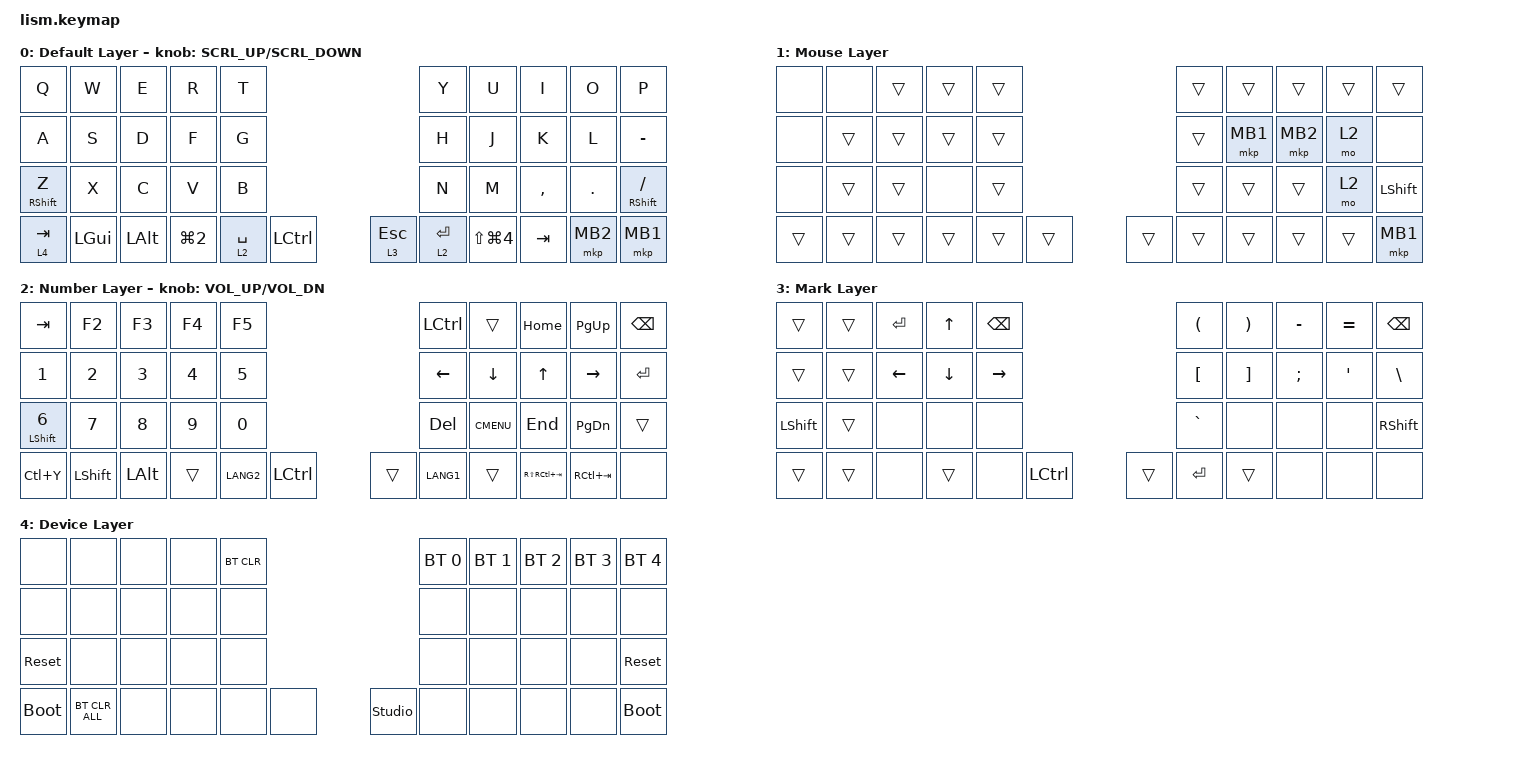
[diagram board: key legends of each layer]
#define ZMK_POINTING_DEFAULT_SCRL_VAL 200

#include <dt-bindings/zmk/mouse.h>
#include <behaviors.dtsi>
#include <dt-bindings/zmk/bt.h>
#include <dt-bindings/zmk/keys.h>
#include <dt-bindings/zmk/pointing.h>

&mt {
    tapping-term-ms = <300>;
    flavor = "balanced";
};

&lt { quick-tap-ms = <300>; };

/ {
    behaviors {
        encoder_msc: sensor_rotate_msc {
            compatible = "zmk,behavior-sensor-rotate-var";
            #sensor-binding-cells = <2>;
            bindings = <&msc>, <&msc>;

            tap-ms = <20>;
        };

        encoder_kp: sensor_rotate_kp {
            compatible = "zmk,behavior-sensor-rotate-var";
            #sensor-binding-cells = <2>;
            bindings = <&kp>, <&kp>;
        };
    };

    combos {
        compatible = "zmk,combos";

        enter {
            bindings = <&kp ENTER>;
            key-positions = <18 19>;
        };

        pass {
            bindings = <&new_macro>;
            key-positions = <5 25>;
        };

        qw {
            bindings = <&mo 3>;
            key-positions = <0 1>;
        };

        passBaios {
            bindings = <&new_macro2>;
            key-positions = <9 29>;
        };
    };

    macros {
        new_macro: new_macro {
            compatible = "zmk,behavior-macro";
            #binding-cells = <0>;
            bindings = <&none &kp LS(G) &kp LS(U) &kp N2 &kp U &kp DLLR &kp LS(A) &kp I &kp N0 &kp N0 &kp N9 &kp N8 &kp N7>;
            label = "NEW_MACRO";
        };

        new_macro2: new_macro2 {
            compatible = "zmk,behavior-macro";
            #binding-cells = <0>;
            bindings = <&none &kp LS(A) &kp SEMI &kp L &kp K &kp J &kp N1 &kp N2 &kp N3 &kp N4>;
            label = "NEW_MACRO2";
        };
    };

    keymap {
        compatible = "zmk,keymap";

        default_layer {
            display-name = "Default Layer";
            bindings = <
&kp Q              &kp W         &kp E         &kp R             &kp T                                &kp Y        &kp U           &kp I      &kp O     &kp P
&kp A              &kp S         &kp D         &kp F             &kp G                                &kp H        &kp J           &kp K      &kp L     &kp MINUS
&mt RIGHT_SHIFT Z  &kp X         &kp C         &kp V             &kp B                                &kp N        &kp M           &kp COMMA  &kp DOT   &mt RIGHT_SHIFT SLASH
&lt 4 TAB          &kp LEFT_GUI  &kp LEFT_ALT  &kp LG(NUMBER_2)  &lt 2 SPACE  &kp LCTRL    &lt 3 ESC  &lt 2 ENTER  &kp LS(LG(N4))  &kp TAB    &mkp MB2  &mkp MB1
            >;

            sensor-bindings = <&encoder_msc SCRL_UP SCRL_DOWN>;
        };

        layer_1 {
            display-name = "Mouse Layer";
            bindings = <
&none   &none   &trans  &trans  &trans                    &trans  &trans    &trans    &trans  &trans
&none   &trans  &trans  &trans  &trans                    &trans  &mkp MB1  &mkp MB2  &mo 2   &none
&none   &trans  &trans  &none   &trans                    &trans  &trans    &trans    &mo 2   &kp LEFT_SHIFT
&trans  &trans  &trans  &trans  &trans  &trans    &trans  &trans  &trans    &trans    &trans  &mkp MB1
            >;
        };

        layer_2 {
            display-name = "Number Layer";
            bindings = <
&kp TAB                  &kp F2          &kp F3        &kp F4        &kp F5                             &kp LCTRL       &trans          &kp HOME         &kp PAGE_UP    &kp BACKSPACE
&kp NUMBER_1             &kp NUMBER_2    &kp NUMBER_3  &kp NUMBER_4  &kp NUMBER_5                       &kp LEFT_ARROW  &kp DOWN_ARROW  &kp UP           &kp RIGHT      &kp ENTER
&mt LEFT_SHIFT NUMBER_6  &kp NUMBER_7    &kp NUMBER_8  &kp NUMBER_9  &kp NUMBER_0                       &kp DEL         &kp K_CMENU     &kp END          &kp PAGE_DOWN  &trans
&kp LC(Y)                &kp LEFT_SHIFT  &kp LEFT_ALT  &trans        &kp LANG2     &kp LCTRL    &trans  &kp LANG1       &trans          &kp RS(RC(TAB))  &kp RC(TAB)    &none
            >;

            sensor-bindings = <&encoder_kp C_VOL_UP C_VOL_DN>;
        };

        layer_3 {
            display-name = "Mark Layer";
            bindings = <
&trans          &trans  &kp ENTER       &kp UP_ARROW    &kp BACKSPACE                       &kp LEFT_PARENTHESIS  &kp RIGHT_PARENTHESIS  &kp MINUS      &kp EQUAL         &kp BACKSPACE
&trans          &trans  &kp LEFT_ARROW  &kp DOWN_ARROW  &kp RIGHT                           &kp LEFT_BRACKET      &kp RIGHT_BRACKET      &kp SEMICOLON  &kp SINGLE_QUOTE  &kp BACKSLASH
&kp LEFT_SHIFT  &trans  &none           &none           &none                               &kp GRAVE             &none                  &none          &none             &kp RIGHT_SHIFT
&trans          &trans  &none           &trans          &none          &kp LCTRL    &trans  &kp ENTER             &trans                 &none          &none             &none
            >;
        };

        layer_4 {
            display-name = "Device Layer";
            bindings = <
&none        &none           &none  &none  &bt BT_CLR                           &bt BT_SEL 0  &bt BT_SEL 1  &bt BT_SEL 2  &bt BT_SEL 3  &bt BT_SEL 4
&none        &none           &none  &none  &none                                &none         &none         &none         &none         &none
&sys_reset   &none           &none  &none  &none                                &none         &none         &none         &none         &sys_reset
&bootloader  &bt BT_CLR_ALL  &none  &none  &none       &none    &studio_unlock  &none         &none         &none         &none         &bootloader
            >;
        };

        layer_5 {
            status = "reserved";
            display-name = "Brank Layer";
            bindings = <
&trans  &trans  &trans  &trans  &trans                    &trans  &trans  &trans  &trans  &trans
&trans  &trans  &trans  &trans  &trans                    &trans  &trans  &trans  &trans  &trans
&trans  &trans  &trans  &trans  &trans                    &trans  &trans  &trans  &trans  &trans
&trans  &trans  &trans  &trans  &trans  &trans    &trans  &trans  &trans  &trans  &trans  &trans
            >;
        };

        layer_6 {
            status = "reserved";
            display-name = "Brank Layer";
            bindings = <
&trans  &trans  &trans  &trans  &trans                    &trans  &trans  &trans  &trans  &trans
&trans  &trans  &trans  &trans  &trans                    &trans  &trans  &trans  &trans  &trans
&trans  &trans  &trans  &trans  &trans                    &trans  &trans  &trans  &trans  &trans
&trans  &trans  &trans  &trans  &trans  &trans    &trans  &trans  &trans  &trans  &trans  &trans
            >;
        };

        layer_7 {
            status = "reserved";
            display-name = "Brank Layer";
            bindings = <
&trans  &trans  &trans  &trans  &trans                    &trans  &trans  &trans  &trans  &trans
&trans  &trans  &trans  &trans  &trans                    &trans  &trans  &trans  &trans  &trans
&trans  &trans  &trans  &trans  &trans                    &trans  &trans  &trans  &trans  &trans
&trans  &trans  &trans  &trans  &trans  &trans    &trans  &trans  &trans  &trans  &trans  &trans
            >;
        };
    };
};
